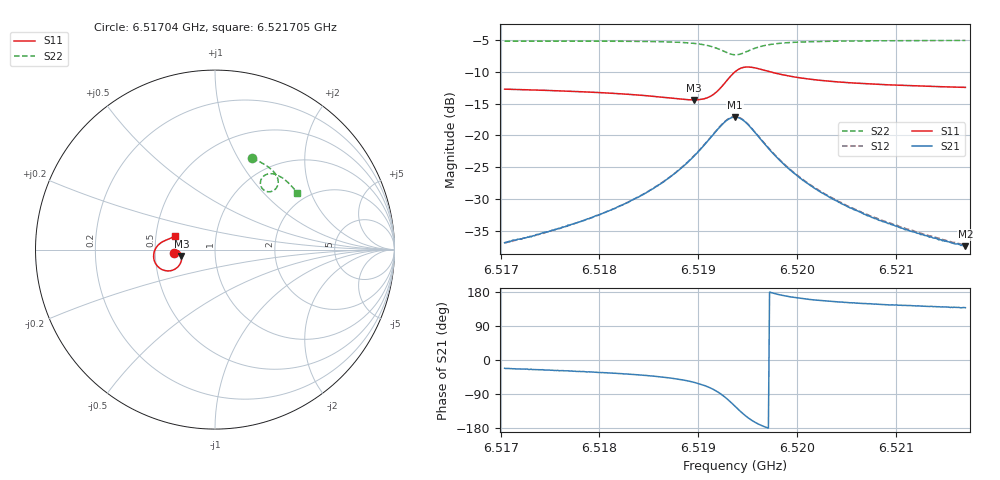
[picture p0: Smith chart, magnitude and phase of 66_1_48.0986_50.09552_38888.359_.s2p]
#  HZ  S  RI  R  50.00
! Rohde & Schwarz Vector Network Analyzer
! Rohde-Schwarz,ZNB20-2Port,1311601062101988,3.16
! Created: UTC 12/23/2023, 3:41:16 AM
! freq[Hz]  re:S11  im:S11  re:S21  im:S21  re:S12  im:S12  re:S22  im:S22
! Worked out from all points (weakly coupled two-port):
!   401 points, 6.51704 GHz to 6.521705 GHz, reference 50 ohm
!   highest |S21| = -17.10 dB at 6.519372 GHz (marker M1); lowest = -37.4 dB at 6.521705 GHz (marker M2)
!   lowest |S11| = -14.4 dB at 6.518953 GHz (marker M3), VSWR 1.47, Z = 34.2 - j2.49 ohm
!   |S11| at or under -10 dB: start of sweep to 6.519374 GHz; 6.519724 GHz to end of sweep
!   |S22| runs from -7.3 to -5.1 dB; largest |S21 - S12| = 0.0043
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6.51704e9  -0.2303 -0.0166  0.0134 -0.00537  0.0136 -0.00498  0.2066 0.508
6.5174249e9  -0.2258 -0.011  0.0156 -0.00743  0.0156 -0.00693  0.2352 0.496
6.5178214e9  -0.2201 -0.00643  0.0184 -0.0108  0.0187 -0.0102  0.2642 0.481
6.5182412e9  -0.2116 -0.0046  0.0231 -0.0172  0.0236 -0.0163  0.296 0.461
6.5184511e9  -0.2058 -0.00629  0.0264 -0.0225  0.0273 -0.0217  0.3122 0.4481
6.5186027e9  -0.2006 -0.00962  0.0296 -0.0287  0.0305 -0.0277  0.3241 0.4369
6.5187893e9  -0.193 -0.0185  0.0335 -0.0404  0.0349 -0.0395  0.3386 0.4191
6.5189526e9  -0.1868 -0.0352  0.0356 -0.0582  0.0375 -0.0575  0.3494 0.396
6.5190692e9  -0.1865 -0.0565  0.0322 -0.0792  0.0349 -0.0788  0.3521 0.3725
6.5191509e9  -0.1938 -0.0784  0.0224 -0.0988  0.0254 -0.099  0.3469 0.3519
6.5192791e9  -0.2372 -0.115  -0.0219 -0.1278  -0.0184 -0.1294  0.3133 0.3237
6.5193724e9  -0.2955 -0.1111  -0.0739 -0.1184  -0.0711 -0.1214  0.2727 0.3313
6.5194191e9  -0.3208 -0.0923  -0.0946 -0.0991  -0.0925 -0.1026  0.2586 0.3476
6.5194774e9  -0.3384 -0.0606  -0.1068 -0.0696  -0.1055 -0.073  0.2528 0.3722
6.5195707e9  -0.3391 -0.0144  -0.1022 -0.0298  -0.1022 -0.0329  0.265 0.4031
6.5196756e9  -0.3231 0.0175  -0.085 -0.00518  -0.0856 -0.00763  0.2878 0.419
6.5199089e9  -0.29 0.0449  -0.0542 0.0117  -0.0551 0.0103  0.3294 0.4209
6.5201538e9  -0.2696 0.0544  -0.0371 0.0142  -0.0379 0.0132  0.3583 0.4098
6.5205153e9  -0.2524 0.0614  -0.0243 0.0131  -0.025 0.0125  0.3885 0.3893
6.5209351e9  -0.2401 0.0675  -0.0168 0.0117  -0.0173 0.0111  0.416 0.3648
6.521355e9  -0.2313 0.0733  -0.0126 0.00995  -0.013 0.00982  0.4392 0.3391
6.5217048e9  -0.2251 0.0781  -0.0101 0.00905  -0.0105 0.00897  0.4565 0.3175
